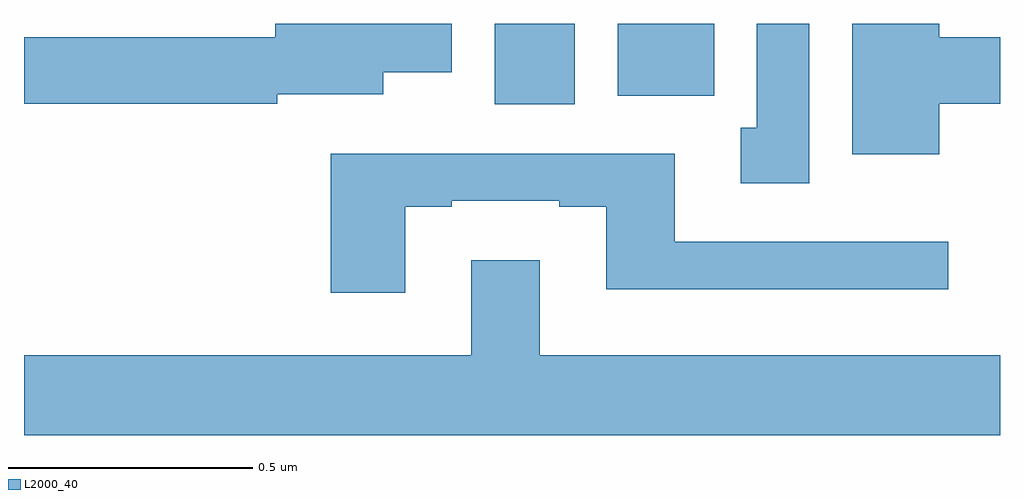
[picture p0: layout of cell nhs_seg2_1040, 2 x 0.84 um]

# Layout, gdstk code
import gdstk
lib = gdstk.Library(unit=1e-6, precision=1e-09)
def R(c, l, rs):  # rectangles x0, y0, x1, y1
    for r in rs: c.add(gdstk.rectangle(r[:2], r[2:], *l))
def P(c, l, *ps):  # polygons
    for p in ps: c.add(gdstk.Polygon(p, *l))
L2000_40 = (2000, 40)

nhs_seg2_1040 = lib.new_cell('nhs_seg2_1040')
R(nhs_seg2_1040, L2000_40, [(123.965,661.635,124.129,661.8), (124.217,661.652,124.414,661.8)])
P(nhs_seg2_1040, L2000_40, [(124.609,661.8),(124.502,661.8),(124.502,661.586),(124.469,661.586),(124.469,661.473),(124.609,661.473)],
  [(123.519,661.655),(123.736,661.655),(123.736,661.7),(123.877,661.7),(123.877,661.8),(123.515,661.8),(123.515,661.772),(123,661.772),(123,661.636),(123.519,661.636)],
  [(124.876,661.636),(125,661.636),(125,661.772),(124.876,661.772),(124.876,661.8),(124.697,661.8),(124.697,661.532),(124.876,661.532)],
  [(123.781,661.425),(123.877,661.425),(123.877,661.437),(124.097,661.437),(124.097,661.425),(124.193,661.425),(124.193,661.256),(124.894,661.256),(124.894,661.353),(124.333,661.353),(124.333,661.533),(123.629,661.533),(123.629,661.248),(123.781,661.248)],
  [(125,661.12),(124.057,661.12),(124.057,661.315),(123.917,661.315),(123.917,661.12),(123,661.12),(123,660.956),(125,660.956)])

lib.write_gds('nhs_seg2_1040.gds')
